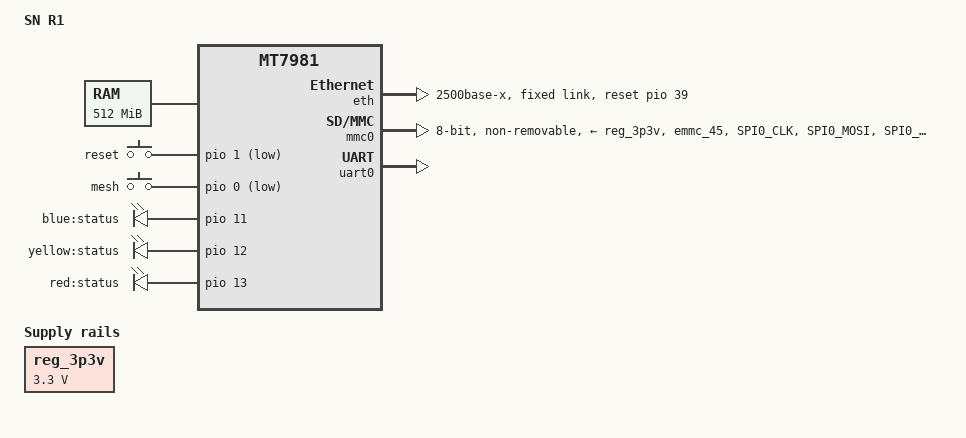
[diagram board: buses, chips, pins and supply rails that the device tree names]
// SPDX-License-Identifier: GPL-2.0-only
/*
 * Copyright (c) 2022 MediaTek Inc.
 * Author: Sam Shih <sam.shih@mediatek.com>
 */

/dts-v1/;
#include "mt7981.dtsi"
#include <dt-bindings/gpio/gpio.h>
#include <dt-bindings/input/linux-event-codes.h>

/ {
	model = "SN R1";
	compatible = "sn,r1", "mediatek,mt7981", "mediatek,mt7981-rfb";
	#address-cells = <1>;
	#size-cells = <1>;

	chosen {
		stdout-path = &uart0;
		tick-timer = &timer0;
	};

	memory@40000000 {
		device_type = "memory";
		reg = <0x40000000 0x20000000>;
	};

	keys {
		compatible = "gpio-keys";

		button-reset {
			label = "reset";
			linux,code = <KEY_RESTART>;
			gpios = <&pio 1 GPIO_ACTIVE_LOW>;
		};

		button-mesh {
			label = "mesh";
			linux,code = <BTN_9>;
			linux,input-type = <EV_SW>;
			gpios = <&pio 0 GPIO_ACTIVE_LOW>;
		};
	};

	leds {
		compatible = "gpio-leds";

		led-0 {
			label = "blue:status";
			gpios = <&pio 11 GPIO_ACTIVE_HIGH>;
		};

		led-1 {
			label = "yellow:status";
			gpios = <&pio 12 GPIO_ACTIVE_HIGH>;
		};

		led-2 {
			label = "red:status";
			gpios = <&pio 13 GPIO_ACTIVE_HIGH>;
		};
	};

	reg_3p3v: regulator-3p3v {
		compatible = "regulator-fixed";
		regulator-name = "fixed-3.3V";
		regulator-min-microvolt = <3300000>;
		regulator-max-microvolt = <3300000>;
		regulator-boot-on;
		regulator-always-on;
	};
};

&eth {
	status = "okay";
	mediatek,gmac-id = <0>;
	phy-mode = "2500base-x";
	mediatek,switch = "auto";
	reset-gpios = <&pio 39 GPIO_ACTIVE_HIGH>;

	fixed-link {
		speed = <2500>;
		full-duplex;
	};
};

&pio {
	mmc0_pins_default: mmc0default {
		mux {
			function = "flash";
			groups =  "emmc_45";
		};
		conf-cmd-dat {
			pins = "SPI0_CLK", "SPI0_MOSI", "SPI0_MISO",
				"SPI0_CS",  "SPI0_HOLD", "SPI0_WP",
				"SPI1_CLK", "SPI1_MOSI", "SPI1_MISO";
			input-enable;
			drive-strength = <MTK_DRIVE_4mA>;
			bias-pull-up = <MTK_PUPD_SET_R1R0_01>;
		};
		conf-clk {
			pins = "SPI1_CS";
			drive-strength = <MTK_DRIVE_6mA>;
			bias-pull-down = <MTK_PUPD_SET_R1R0_10>;
		};
		conf-rst {
			pins = "PWM0";
			drive-strength = <MTK_DRIVE_4mA>;
			bias-pull-up = <MTK_PUPD_SET_R1R0_01>;
		};
	};
};

&mmc0 {
	pinctrl-names = "default";
	pinctrl-0 = <&mmc0_pins_default>;
	max-frequency = <26000000>;
	bus-width = <8>;
	cap-mmc-hw-reset;
	vmmc-supply = <&reg_3p3v>;
	non-removable;
	status = "okay";
};

&uart0 {
	mediatek,force-highspeed;
	status = "okay";
};

&watchdog {
	status = "disabled";
};
